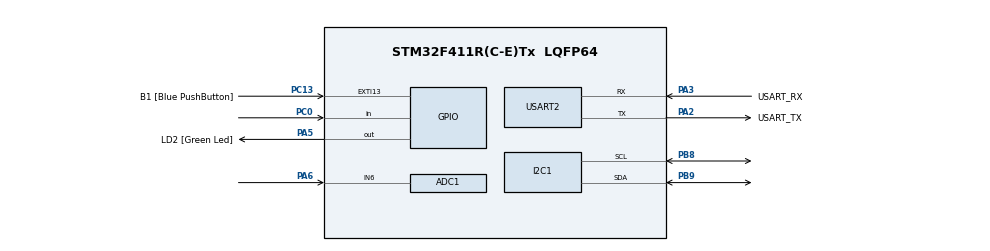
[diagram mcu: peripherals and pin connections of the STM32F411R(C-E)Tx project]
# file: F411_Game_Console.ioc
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ADC1.Channel-2\#ChannelRegularConversion=ADC_CHANNEL_6
ADC1.ContinuousConvMode=ENABLE
ADC1.NbrOfConversionFlag=1
ADC1.Rank-2\#ChannelRegularConversion=1
ADC1.SamplingTime-2\#ChannelRegularConversion=ADC_SAMPLETIME_3CYCLES
ADC1.master=1
I2C1.I2C_Mode=I2C_Fast
Mcu.Family=STM32F4
Mcu.Name=STM32F411R(C-E)Tx
Mcu.Package=LQFP64
NVIC.ADC_IRQn=true\:0\:0\:false\:false\:true\:true\:true\:true
NVIC.EXTI15_10_IRQn=true\:0\:0\:false\:false\:true\:true\:true\:true
NVIC.PriorityGroup=NVIC_PRIORITYGROUP_0
NVIC.TIM1_UP_TIM10_IRQn=true\:0\:0\:false\:false\:true\:true\:true\:true
PA13.GPIO_Label=TMS
PA13.Mode=Serial_Wire
PA13.Signal=SYS_JTMS-SWDIO
PA14.GPIO_Label=TCK
PA14.Mode=Serial_Wire
PA14.Signal=SYS_JTCK-SWCLK
PA2.GPIO_Label=USART_TX
PA2.Mode=Asynchronous
PA2.Signal=USART2_TX
PA3.GPIO_Label=USART_RX
PA3.Mode=Asynchronous
PA3.Signal=USART2_RX
PA5.GPIO_Label=LD2 [Green Led]
PA5.Signal=GPIO_Output
PA6.Signal=ADCx_IN6
PB3.GPIO_Label=SWO
PB3.Signal=SYS_JTDO-SWO
PB8.GPIO_Pu=GPIO_PULLUP
PB8.Mode=I2C
PB8.Signal=I2C1_SCL
PB9.GPIO_Pu=GPIO_PULLUP
PB9.Mode=I2C
PB9.Signal=I2C1_SDA
PC0.GPIO_PuPd=GPIO_NOPULL
PC0.Signal=GPIO_Input
PC13-ANTI_TAMP.GPIO_Label=B1 [Blue PushButton]
PC13-ANTI_TAMP.GPIO_ModeDefaultEXTI=GPIO_MODE_IT_FALLING
PC13-ANTI_TAMP.Signal=GPXTI13
PC14-OSC32_IN.Mode=LSE-External-Oscillator
PC14-OSC32_IN.Signal=RCC_OSC32_IN
PC15-OSC32_OUT.Mode=LSE-External-Oscillator
PC15-OSC32_OUT.Signal=RCC_OSC32_OUT
PH0\ -\ OSC_IN.Mode=HSE-External-Clock-Source
PH0\ -\ OSC_IN.Signal=RCC_OSC_IN
PH1\ -\ OSC_OUT.Mode=HSE-External-Clock-Source
PH1\ -\ OSC_OUT.Signal=RCC_OSC_OUT
ProjectManager.HeapSize=0x200
ProjectManager.StackSize=0x400
ProjectManager.TargetToolchain=STM32CubeIDE
RCC.48MHZClocksFreq_Value=50000000
RCC.AHBFreq_Value=100000000
RCC.APB1CLKDivider=RCC_HCLK_DIV2
RCC.APB1Freq_Value=50000000
RCC.APB1TimFreq_Value=100000000
RCC.APB2Freq_Value=100000000
RCC.APB2TimFreq_Value=100000000
RCC.CortexFreq_Value=100000000
RCC.FLatency-AdvancedSettings=FLASH_LATENCY_3
RCC.HCLKFreq_Value=100000000
RCC.HSE_VALUE=8000000
RCC.HSI_VALUE=16000000
RCC.PLLM=8
RCC.PLLN=100
RCC.SYSCLKFreq_VALUE=100000000
RCC.SYSCLKSource=RCC_SYSCLKSOURCE_PLLCLK
RCC.VCOOutputFreq_Value=200000000
SH.ADCx_IN6.0=ADC1_IN6,IN6
TIM10.Period=1000
TIM10.Prescaler=420-1
USART2.VirtualMode=VM_ASYNC
VP_TIM10_VS_ClockSourceINT.Mode=Enable_Timer
board=NUCLEO-F411RE

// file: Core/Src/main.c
/* USER CODE BEGIN Header */
/**
 ******************************************************************************
 * @file           : main.c
 * @brief          : Main program body
 ******************************************************************************
 * @attention
 *
 * Copyright (c) 2023 STMicroelectronics.
 * All rights reserved.
 *
 * This software is licensed under terms that can be found in the LICENSE file
 * in the root directory of this software component.
 * If no LICENSE file comes with this software, it is provided AS-IS.
 *
 ******************************************************************************
 */
/* USER CODE END Header */
#include "main.h"

/* USER CODE BEGIN Includes */
#include "liquidcrystal_i2c.h"
#include "stdlib.h"
/* USER CODE END Includes */

ADC_HandleTypeDef hadc1;

I2C_HandleTypeDef hi2c1;

TIM_HandleTypeDef htim10;

UART_HandleTypeDef huart2;

void SystemClock_Config(void);
static void MX_GPIO_Init(void);
static void MX_USART2_UART_Init(void);
static void MX_I2C1_Init(void);
static void MX_TIM10_Init(void);
static void MX_ADC1_Init(void);

/* USER CODE BEGIN 0 */
int pause=0;
int test_counter=0;
int nuck_counter=0;
int dead1, dead2, dead3 = 0;
int line, state_detect = 0;
uint32_t ADC_val = 0;
int lock1, lock2, lock3 = 0;
int BDL1 = 1;
int BDL2 = 1;
int BDL3 = 1;
int trigger = 0;
int trigger_cool_down = 0;
int fireball_pos = 0;
int menu_state = 1;
int seleceter1 = 3;
int selecter3 = 1;
int selecter2 = 3;
int dedector1, dedector2, dedector3;
int hatto1, hatto2, hatto3;
int Size_Changer = 1;
int charact_count = 0;
int z = 1;
int k = 0;
int Start = 16;
int stort = 24;
int ktort = 32;
int statues_block = 1;
int point = 0;
char snum[5];
int jump_caunter = 0;
int Speed;
int Time_Counter = 0;
int safety = 0;
int val1, val2, val3;

void HAL_ADC_ConvCpltCallback(ADC_HandleTypeDef *hadc) {
	if (__HAL_ADC_GET_FLAG(&hadc1,ADC_FLAG_EOC) != RESET) {

		ADC_val = HAL_ADC_GetValue(&hadc1);
	}
}

void HAL_TIM_PeriodElapsedCallback(TIM_HandleTypeDef *htim) {
	if (htim == &htim10) {
		HAL_ADC_Start_IT(&hadc1);

		if (fireball_pos > 13) {
			fireball_pos = 0;
			trigger = 0;
			lock1 = 1;
			state_detect = 0;

		}
		if ((fireball_pos >= Start) && (trigger_cool_down == 1)
				&& (line == 1)) {
			BDL1 = 0;
			fireball_pos = 0;
			trigger = 0;
			lock1 = 1;
			state_detect = 0;
			//point-=2;
			if (fireball_pos == 0) {
				trigger_cool_down = 0;
			}

		} else if ((fireball_pos >= stort) && (trigger_cool_down == 1)
				&& (line == 0)) {
			BDL2 = 0;
			fireball_pos = 0;
			trigger = 0;
			lock2 = 1;
			state_detect = 0;
			//point-=2;

			if (fireball_pos == 0) {
				trigger_cool_down = 0;
			}}

			else if ((fireball_pos >= ktort) && (trigger_cool_down == 1)
					&& (line ==statues_block )) {
				BDL3 = 0;
				fireball_pos = 0;
				trigger = 0;
				lock3 = 1;
				state_detect = 0;
				//point-=2;

				if (fireball_pos == 0) {
					trigger_cool_down = 0;
				}

			}

			if (trigger_cool_down == 0) {
				HAL_GPIO_WritePin(GPIOA, GPIO_PIN_5, SET);

			} else {
				HAL_GPIO_WritePin(GPIOA, GPIO_PIN_5, RESET);
			}

			if (HAL_GPIO_ReadPin(GPIOC, GPIO_PIN_13) == 0) {
				test_counter++;
				if (trigger_cool_down == 0) {
					trigger = 1;
					trigger_cool_down = 1;
				}
			}
			if (HAL_GPIO_ReadPin(GPIOC, GPIO_PIN_0) == 1) {

				if (menu_state == 0) {
					z = 0;
				} else if (menu_state == 1 && ADC_val < 2000) {
					Speed = 75;
					menu_state = 0;
				} else if (menu_state == 1 && ADC_val > 2000) {
					Speed = 150;
					menu_state = 0;
				}
			}
		}
	}

	void character_move(void);
	void Lower_Block_creator(void);
	void Upper_Block_creator(void);
	void Block_creator_Bonus(int pos);
	void shoot(void);
	void Nuck(void);

	void character_move(void) {
		HD44780_Clear();
		HD44780_SetCursor(0, z);
		if (charact_count == 0) {
			HD44780_PrintSpecialChar(2);
			charact_count++;
		} else if (charact_count > 0) {
			HD44780_PrintSpecialChar(3);
			charact_count = 0;
		}
	}
	void Lower_Block_creator(void) {
		if (lock1 == 0) {
			switch (seleceter1) {
			case 1:
				HD44780_SetCursor(Start, 1);
				HD44780_PrintSpecialChar(4);
				break;
			case 2:
				HD44780_SetCursor(Start, 1);
				HD44780_PrintSpecialChar(4);
				HD44780_SetCursor(Start + 1, 1);
				HD44780_PrintSpecialChar(4);

				break;

			case 3:

				HD44780_SetCursor(Start, 1);
				HD44780_PrintSpecialChar(4);
				HD44780_SetCursor(Start + 1, 1);
				HD44780_PrintSpecialChar(4);
				HD44780_SetCursor(Start + 2, 1);
				HD44780_PrintSpecialChar(4);

				break;

			default:
				HD44780_Clear();
			}
		}

		if(lock1==1&& seleceter1==3 ){
			BDL1=1;
			HD44780_SetCursor(Start, 1);
			HD44780_PrintSpecialChar(4);
		}

		if (seleceter1 == 3) {

			dedector1 = -4;
			hatto1 = 22;
		} else if (seleceter1 == 2) {

			dedector1 = -3;
			hatto1 = 23;

		} else if (seleceter1 == 1) {

			dedector1 = -2;
			hatto1 = 24;
		}

		Start--;
		if (Start == dedector1) {
			BDL1 = 1;
			lock1 = 0;

			if (seleceter1 == 1) {
				seleceter1 = 4;
			}

			HD44780_Clear();
			seleceter1--;
			Start = hatto1;
		}

		if ((z == 1 && (Start == 0 || Start + 1 == 0 || Start + 2 == 0))) {

			dead1 = 1;

		} else {
			dead1 = 0;
		}

	}

	void Upper_Block_creator(void) {
		if (lock2 == 0) {
			switch (selecter2) {
			case 1:
				HD44780_SetCursor(stort, 0);
				HD44780_PrintSpecialChar(4);
				break;
			case 2:
				HD44780_SetCursor(stort, 0);
				HD44780_PrintSpecialChar(4);
				HD44780_SetCursor(stort + 1, 0);
				HD44780_PrintSpecialChar(4);

				break;

			case 3:

				HD44780_SetCursor(stort, 0);
				HD44780_PrintSpecialChar(4);
				HD44780_SetCursor(stort + 1, 0);
				HD44780_PrintSpecialChar(4);
				HD44780_SetCursor(stort + 2, 0);
				HD44780_PrintSpecialChar(4);

				break;

			default:
				HD44780_Clear();
			}
		}
		if(lock2==1&& selecter2==3 ){
			BDL2=1;
			HD44780_SetCursor(stort, 0);
			HD44780_PrintSpecialChar(4);
		}

		if (selecter2 == 3) {

			dedector2 = -4;
			hatto2 = 22;
		} else if (selecter2 == 2) {

			dedector2 = -3;
			hatto2 = 23;

		} else if (selecter2 == 1) {

			dedector2 = -2;
			hatto2 = 24;
		}

		stort--;
		if (stort == dedector2) {
			BDL2 = 1;
			lock2 = 0;

			if (selecter2 == 1) {
				selecter2 = 4;
			}

			HD44780_Clear();
			selecter2--;
			stort = hatto2;
		}

		if ((z == 0 && (stort == 0 || stort + 1 == 0 || stort + 2 == 0))) {

			dead2 = 1;

		} else {
			dead2 = 0;
		}

	}
	void Block_creator_Bonus(int pos) {
		if (lock3 == 0) {

		switch (selecter3) {
		case 1:
			HD44780_SetCursor(ktort, pos);
			HD44780_PrintSpecialChar(4);

			break;
		case 2:
			HD44780_SetCursor(ktort, pos);
			HD44780_PrintSpecialChar(4);
			HD44780_SetCursor(ktort + 1, pos);
			HD44780_PrintSpecialChar(4);

			break;

		case 3:

			HD44780_SetCursor(ktort, pos);
			HD44780_PrintSpecialChar(4);
			HD44780_SetCursor(ktort + 1, pos);
			HD44780_PrintSpecialChar(4);
			HD44780_SetCursor(ktort + 2, pos);
			HD44780_PrintSpecialChar(4);

			break;

		default:
			HD44780_Clear();
		}}
		if(lock3==1&& selecter3==3 ){
			BDL3=1;
			HD44780_SetCursor(ktort, pos);
			HD44780_PrintSpecialChar(4);
		}

		if (selecter3 == 3) {

			dedector3 = -4;
			hatto3 = 22;
		} else if (selecter3 == 2) {

			dedector3 = -3;
			hatto3 = 23;

		} else if (selecter3 == 1) {

			dedector3 = -2;
			hatto3 = 24;
		}

		ktort--;
		if (ktort == dedector3) {
			BDL3 = 1;
			lock3 = 0;

			if (selecter3 == 3) {
				selecter3 = 0;
			}
			HD44780_Clear();
			selecter3++;
			ktort = hatto3;

			if (statues_block == 1) {
				statues_block = 0;

			} else {

				statues_block = 1;

			}

		}
		if (((z == 1 && statues_block == 1)
				&& (ktort == 0 || ktort + 1 == 0 || ktort + 2 == 0))
				|| ((z == 0 && statues_block == 0)
						&& (ktort == 0 || ktort + 1 == 0 || ktort + 2 == 0))) {

			dead3 = 1;

		} else {
			dead3 = 0;
		}

	}

	void shoot(void) {
		if (trigger == 1) {
			if (state_detect == 0) {
				state_detect = 1;
				line = z;
			}
			HD44780_SetCursor(fireball_pos, line);
			HD44780_PrintSpecialChar(0);

			fireball_pos++;
		}
	}

	/* USER CODE END 0 */

	/**
	 * @brief  The application entry point.
	 * @retval int
	 */
	int main(void) {

		/* MCU Configuration--------------------------------------------------------*/

		/* Reset of all peripherals, Initializes the Flash interface and the Systick. */
		HAL_Init();

		/* Configure the system clock */
		SystemClock_Config();

		/* Initialize all configured peripherals */
		MX_GPIO_Init();
		MX_USART2_UART_Init();
		MX_I2C1_Init();
		MX_TIM10_Init();
		MX_ADC1_Init();
		/* USER CODE BEGIN 2 */
		HAL_TIM_Base_Start_IT(&htim10);

		HD44780_Init(2);
		/* USER CODE END 2 */

		/* Infinite loop */
		while (1) {

			/* USER CODE BEGIN 3 */

			while (menu_state) {

				HD44780_Clear();
				HD44780_SetCursor(0, 0);
				HD44780_PrintStr("Difficulty");

				HD44780_SetCursor(1, 1);
				HD44780_PrintStr("Hard");

				HD44780_SetCursor(9, 1);
				HD44780_PrintStr("Easy");

				if (ADC_val < 2000) {

					HD44780_SetCursor(0, 1);
					HD44780_Blink();

				} else if (ADC_val > 2000) {

					HD44780_SetCursor(8, 1);
					HD44780_Blink();

				}

				HAL_Delay(1000);

			}

			if ((dead1 == 1 && BDL1 == 1) || (dead2 == 1 && BDL2 == 1)
					|| (dead3 == 1 &&BDL3 == 1)) {

				HD44780_Clear();
				HD44780_SetCursor(4, 0);
				HD44780_PrintStr("YOU DIED!");
				HD44780_SetCursor(4, 1);
				HD44780_PrintStr("SCORE:");

				itoa(point, snum, 10);
				HD44780_SetCursor(10, 1);
				HD44780_PrintStr(snum);
				HD44780_Blink();
				HAL_Delay(1000);

			}

			else {
				character_move();
				shoot();
				Lower_Block_creator();
				Upper_Block_creator();
				Block_creator_Bonus(statues_block);
				point++;

				if (z == 0) {
					jump_caunter++;
					if (jump_caunter > 3
							&& (Start != 0 || Start + 1 != 0 || Start + 2 != 0
									|| statues_block != 0 || ktort != 0
									|| ktort + 1 != 0 || ktort + 2 != 0)) {
						z = 1;
						jump_caunter = 0;
					}

				}
				HAL_Delay(Speed);

				/* Time_Counter++;
				 if(Time_Counter==5 && safety==0){

				 Time--;
				 Time_Counter=0;
				 }
				 if(Time<100){
				 safety=1;
				 }*/

			}
		}

		/* USER CODE END 3 */
	}

	/**
	 * @brief System Clock Configuration
	 * @retval None
	 */
	void SystemClock_Config(void) {
		RCC_OscInitTypeDef RCC_OscInitStruct = { 0 };
		RCC_ClkInitTypeDef RCC_ClkInitStruct = { 0 };

		/** Configure the main internal regulator output voltage
		 */
		__HAL_RCC_PWR_CLK_ENABLE();
		__HAL_PWR_VOLTAGESCALING_CONFIG(PWR_REGULATOR_VOLTAGE_SCALE1);

		/** Initializes the RCC Oscillators according to the specified parameters
		 * in the RCC_OscInitTypeDef structure.
		 */
		RCC_OscInitStruct.OscillatorType = RCC_OSCILLATORTYPE_HSI;
		RCC_OscInitStruct.HSIState = RCC_HSI_ON;
		RCC_OscInitStruct.HSICalibrationValue = RCC_HSICALIBRATION_DEFAULT;
		RCC_OscInitStruct.PLL.PLLState = RCC_PLL_ON;
		RCC_OscInitStruct.PLL.PLLSource = RCC_PLLSOURCE_HSI;
		RCC_OscInitStruct.PLL.PLLM = 8;
		RCC_OscInitStruct.PLL.PLLN = 100;
		RCC_OscInitStruct.PLL.PLLP = RCC_PLLP_DIV2;
		RCC_OscInitStruct.PLL.PLLQ = 4;
		if (HAL_RCC_OscConfig(&RCC_OscInitStruct) != HAL_OK) {
			Error_Handler();
		}

		/** Initializes the CPU, AHB and APB buses clocks
		 */
		RCC_ClkInitStruct.ClockType = RCC_CLOCKTYPE_HCLK | RCC_CLOCKTYPE_SYSCLK
				| RCC_CLOCKTYPE_PCLK1 | RCC_CLOCKTYPE_PCLK2;
		RCC_ClkInitStruct.SYSCLKSource = RCC_SYSCLKSOURCE_PLLCLK;
		RCC_ClkInitStruct.AHBCLKDivider = RCC_SYSCLK_DIV1;
		RCC_ClkInitStruct.APB1CLKDivider = RCC_HCLK_DIV2;
		RCC_ClkInitStruct.APB2CLKDivider = RCC_HCLK_DIV1;

		if (HAL_RCC_ClockConfig(&RCC_ClkInitStruct, FLASH_LATENCY_3)
				!= HAL_OK) {
			Error_Handler();
		}
	}

	/**
	 * @brief ADC1 Initialization Function
	 * @param None
	 * @retval None
	 */
	static void MX_ADC1_Init(void) {

		ADC_ChannelConfTypeDef sConfig = { 0 };

		/** Configure the global features of the ADC (Clock, Resolution, Data Alignment and number of conversion)
		 */
		hadc1.Instance = ADC1;
		hadc1.Init.ClockPrescaler = ADC_CLOCK_SYNC_PCLK_DIV4;
		hadc1.Init.Resolution = ADC_RESOLUTION_12B;
		hadc1.Init.ScanConvMode = DISABLE;
		hadc1.Init.ContinuousConvMode = ENABLE;
		hadc1.Init.DiscontinuousConvMode = DISABLE;
		hadc1.Init.ExternalTrigConvEdge = ADC_EXTERNALTRIGCONVEDGE_NONE;
		hadc1.Init.ExternalTrigConv = ADC_SOFTWARE_START;
		hadc1.Init.DataAlign = ADC_DATAALIGN_RIGHT;
		hadc1.Init.NbrOfConversion = 1;
		hadc1.Init.DMAContinuousRequests = DISABLE;
		hadc1.Init.EOCSelection = ADC_EOC_SINGLE_CONV;
		if (HAL_ADC_Init(&hadc1) != HAL_OK) {
			Error_Handler();
		}

		/** Configure for the selected ADC regular channel its corresponding rank in the sequencer and its sample time.
		 */
		sConfig.Channel = ADC_CHANNEL_6;
		sConfig.Rank = 1;
		sConfig.SamplingTime = ADC_SAMPLETIME_3CYCLES;
		if (HAL_ADC_ConfigChannel(&hadc1, &sConfig) != HAL_OK) {
			Error_Handler();
		}

	}

	/**
	 * @brief I2C1 Initialization Function
	 * @param None
	 * @retval None
	 */
	static void MX_I2C1_Init(void) {

		hi2c1.Instance = I2C1;
		hi2c1.Init.ClockSpeed = 400000;
		hi2c1.Init.DutyCycle = I2C_DUTYCYCLE_2;
		hi2c1.Init.OwnAddress1 = 0;
		hi2c1.Init.AddressingMode = I2C_ADDRESSINGMODE_7BIT;
		hi2c1.Init.DualAddressMode = I2C_DUALADDRESS_DISABLE;
		hi2c1.Init.OwnAddress2 = 0;
		hi2c1.Init.GeneralCallMode = I2C_GENERALCALL_DISABLE;
		hi2c1.Init.NoStretchMode = I2C_NOSTRETCH_DISABLE;
		if (HAL_I2C_Init(&hi2c1) != HAL_OK) {
			Error_Handler();
		}

	}

	/**
	 * @brief TIM10 Initialization Function
	 * @param None
	 * @retval None
	 */
	static void MX_TIM10_Init(void) {

		htim10.Instance = TIM10;
		htim10.Init.Prescaler = 420 - 1;
		htim10.Init.CounterMode = TIM_COUNTERMODE_UP;
		htim10.Init.Period = 1000;
		htim10.Init.ClockDivision = TIM_CLOCKDIVISION_DIV1;
		htim10.Init.AutoReloadPreload = TIM_AUTORELOAD_PRELOAD_DISABLE;
		if (HAL_TIM_Base_Init(&htim10) != HAL_OK) {
			Error_Handler();
		}

	}

	/**
	 * @brief USART2 Initialization Function
	 * @param None
	 * @retval None
	 */
	static void MX_USART2_UART_Init(void) {

		huart2.Instance = USART2;
		huart2.Init.BaudRate = 115200;
		huart2.Init.WordLength = UART_WORDLENGTH_8B;
		huart2.Init.StopBits = UART_STOPBITS_1;
		huart2.Init.Parity = UART_PARITY_NONE;
		huart2.Init.Mode = UART_MODE_TX_RX;
		huart2.Init.HwFlowCtl = UART_HWCONTROL_NONE;
		huart2.Init.OverSampling = UART_OVERSAMPLING_16;
		if (HAL_UART_Init(&huart2) != HAL_OK) {
			Error_Handler();
		}

	}

	/**
	 * @brief GPIO Initialization Function
	 * @param None
	 * @retval None
	 */
	static void MX_GPIO_Init(void) {
		GPIO_InitTypeDef GPIO_InitStruct = { 0 };

		/* GPIO Ports Clock Enable */
		__HAL_RCC_GPIOC_CLK_ENABLE();
		__HAL_RCC_GPIOH_CLK_ENABLE();
		__HAL_RCC_GPIOA_CLK_ENABLE();
		__HAL_RCC_GPIOB_CLK_ENABLE();

		/*Configure GPIO pin Output Level */
		HAL_GPIO_WritePin(LD2_GPIO_Port, LD2_Pin, GPIO_PIN_RESET);

		/*Configure GPIO pin : B1_Pin */
		GPIO_InitStruct.Pin = B1_Pin;
		GPIO_InitStruct.Mode = GPIO_MODE_IT_FALLING;
		GPIO_InitStruct.Pull = GPIO_NOPULL;
		HAL_GPIO_Init(B1_GPIO_Port, &GPIO_InitStruct);

		/*Configure GPIO pin : PC0 */
		GPIO_InitStruct.Pin = GPIO_PIN_0;
		GPIO_InitStruct.Mode = GPIO_MODE_INPUT;
		GPIO_InitStruct.Pull = GPIO_NOPULL;
		HAL_GPIO_Init(GPIOC, &GPIO_InitStruct);

		/*Configure GPIO pin : LD2_Pin */
		GPIO_InitStruct.Pin = LD2_Pin;
		GPIO_InitStruct.Mode = GPIO_MODE_OUTPUT_PP;
		GPIO_InitStruct.Pull = GPIO_NOPULL;
		GPIO_InitStruct.Speed = GPIO_SPEED_FREQ_LOW;
		HAL_GPIO_Init(LD2_GPIO_Port, &GPIO_InitStruct);

		/* EXTI interrupt init*/
		HAL_NVIC_SetPriority(EXTI15_10_IRQn, 0, 0);
		HAL_NVIC_EnableIRQ(EXTI15_10_IRQn);

	}

	/**
	 * @brief  This function is executed in case of error occurrence.
	 * @retval None
	 */
	void Error_Handler(void) {
		__disable_irq();
		while (1) {
		}
	}
